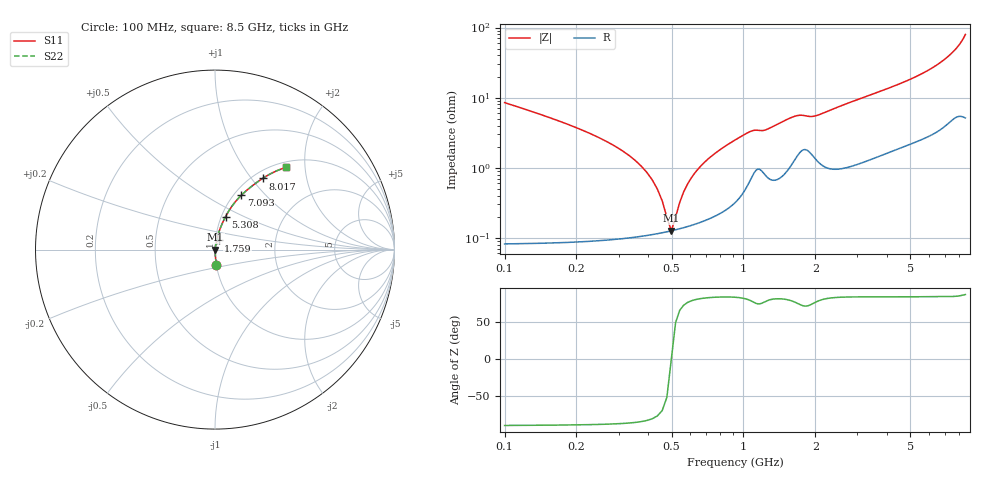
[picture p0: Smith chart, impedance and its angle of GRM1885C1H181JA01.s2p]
!Murata Part Number: GRM1885C1H181JA01
!These Parameters are Measured in Series Mode Connection
!Data Generated on Mar 30, 2021
!  o--ll--o
!Port1  Port2
!  o------o
!Operation Temp=25[degC], DC Bias Voltage=0[V]
!Freq. Start=100[MHz] Stop=9[GHz] 401[Steps]
# Hz S RI R 50
!Freq.(Hz) S11(Real) S11(Imag) S21(Real) S21(Imag) S12(Real) S12(Imag) S22(Real) S22(Imag)
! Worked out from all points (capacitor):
!   401 points, 100 MHz to 8.5 GHz, reference 50 ohm
!   read as one part in series: C = 180 pF near 142 MHz
!   lowest |Z| = 126 mohm at 499 MHz (marker M1)
!   series resonance near 499 MHz, so ESL is about 570 pH
!   S11 on the Smith chart (normalised r, x): 100 MHz: 1.00, -0.17; 1.759 GHz: 1.04, +0.11; 5.308 GHz: 1.05, +0.40; 7.093 GHz: 1.08, +0.74; 8.017 GHz: 1.11, +1.14; 8.5 GHz: 1.10, +1.59
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1e8  0.00796 -0.0842  0.992 0.0842  0.992 0.0842  0.00796 -0.0842
3.52e8  0.00118 -0.0127  0.9988 0.0127  0.9988 0.0127  0.00118 -0.0127
4.15e8  0.00115 -0.0066  0.9988 0.0066  0.9988 0.0066  0.00115 -0.0066
4.57e8  0.00119 -0.00314  0.9988 0.00314  0.9988 0.00314  0.00119 -0.00314
4.99e8  0.00126 6e-07  0.9987 -6e-07  0.9987 -6e-07  0.00126 6e-07
5.41e8  0.00135 0.0029  0.9986 -0.0029  0.9986 -0.0029  0.00135 0.0029
5.83e8  0.00147 0.00561  0.9985 -0.00561  0.9985 -0.00561  0.00147 0.00561
6.25e8  0.00162 0.00818  0.9984 -0.00818  0.9984 -0.00818  0.00162 0.00818
6.88e8  0.00189 0.0118  0.9981 -0.0118  0.9981 -0.0118  0.00189 0.0118
7.93e8  0.0025 0.0176  0.9975 -0.0176  0.9975 -0.0176  0.0025 0.0176
1.066e9  0.00752 0.0317  0.9925 -0.0317  0.9925 -0.0317  0.00752 0.0317
1.507e9  0.0107 0.0464  0.9893 -0.0464  0.9893 -0.0464  0.0107 0.0464
1.759e9  0.02 0.0513  0.98 -0.0513  0.98 -0.0513  0.02 0.0513
1.99e9  0.0161 0.0513  0.9839 -0.0513  0.9839 -0.0513  0.0161 0.0513
2.914e9  0.0184 0.087  0.9816 -0.087  0.9816 -0.087  0.0184 0.087
4.3e9  0.0374 0.1387  0.9626 -0.1387  0.9626 -0.1387  0.0374 0.1387
5.308e9  0.0589 0.1839  0.9411 -0.1839  0.9411 -0.1839  0.0589 0.1839
5.707e9  0.0707 0.2052  0.9293 -0.2052  0.9293 -0.2052  0.0707 0.2052
7.093e9  0.1469 0.303  0.8531 -0.303  0.8531 -0.303  0.1469 0.303
7.114e9  0.1488 0.3048  0.8512 -0.3048  0.8512 -0.3048  0.1488 0.3048
8.017e9  0.2649 0.3963  0.7351 -0.3963  0.7351 -0.3963  0.2649 0.3963
8.5e9  0.3951 0.4577  0.6049 -0.4577  0.6049 -0.4577  0.3951 0.4577
